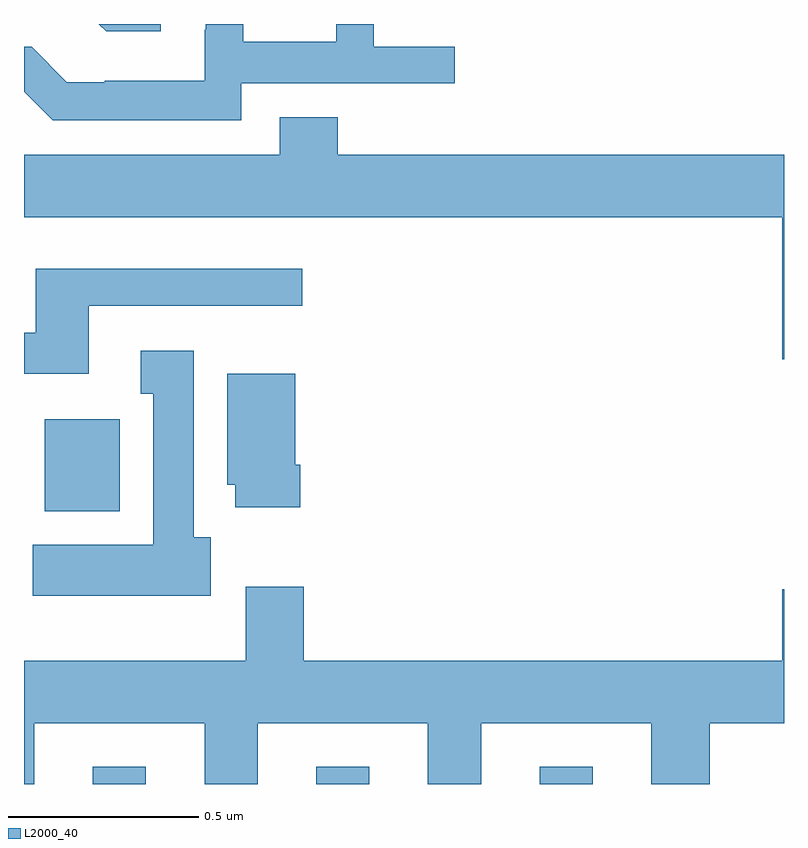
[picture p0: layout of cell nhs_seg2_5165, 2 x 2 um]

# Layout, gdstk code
import gdstk
lib = gdstk.Library(unit=1e-6, precision=1e-09)
def R(c, l, rs):  # rectangles x0, y0, x1, y1
    for r in rs: c.add(gdstk.rectangle(r[:2], r[2:], *l))
def A(c, l, x, y, w, h, nx, ny, dx, dy):  # array of equal rectangles
    R(c, l, [(x+i*dx, y+j*dy, x+i*dx+w, y+j*dy+h) for i in range(nx) for j in range(ny)])
def P(c, l, *ps):  # polygons
    for p in ps: c.add(gdstk.Polygon(p, *l))
L2000_40 = (2000, 40)

nhs_seg2_5165 = lib.new_cell('nhs_seg2_5165')
A(nhs_seg2_5165, L2000_40, 175.181, 656.8, 0.14, 0.045, 3, 1, 0.588, 0)
R(nhs_seg2_5165, L2000_40, [(175.055,657.518,175.252,657.76)])
P(nhs_seg2_5165, L2000_40, [(175.572,658.644),(176.134,658.644),(176.134,658.74),(175.92,658.74),(175.92,658.8),(175.822,658.8),(175.822,658.753),(175.577,658.753),(175.577,658.8),(175.478,658.8),(175.478,658.785),(175.476,658.785),(175.476,658.651),(175.213,658.651),(175.213,658.647),(175.113,658.647),(175.02,658.74),(175,658.74),(175,658.622),(175.075,658.547),(175.572,658.547)],
  [(175.36,658.8),(175.197,658.8),(175.216,658.781),(175.36,658.781)],
  [(177,658.456),(175.826,658.456),(175.826,658.555),(175.673,658.555),(175.673,658.456),(175,658.456),(175,658.292),(176.996,658.292),(176.996,657.918),(177,657.918)],
  [(175.171,658.059),(175.732,658.059),(175.732,658.156),(175.031,658.156),(175.031,657.988),(175,657.988),(175,657.879),(175.171,657.879)],
  [(175.492,657.45),(175.447,657.45),(175.447,657.94),(175.307,657.94),(175.307,657.827),(175.34,657.827),(175.34,657.43),(175.023,657.43),(175.023,657.296),(175.492,657.296)],
  [(175.727,657.64),(175.714,657.64),(175.714,657.88),(175.535,657.88),(175.535,657.588),(175.556,657.588),(175.556,657.528),(175.727,657.528)],
  [(175.027,656.96),(175.475,656.96),(175.475,656.8),(175.615,656.8),(175.615,656.96),(176.063,656.96),(176.063,656.8),(176.203,656.8),(176.203,656.96),(176.651,656.96),(176.651,656.8),(176.804,656.8),(176.804,656.96),(177,656.96),(177,657.313),(176.996,657.313),(176.996,657.124),(175.736,657.124),(175.736,657.319),(175.583,657.319),(175.583,657.124),(175,657.124),(175,656.8),(175.027,656.8)])

lib.write_gds('nhs_seg2_5165.gds')
